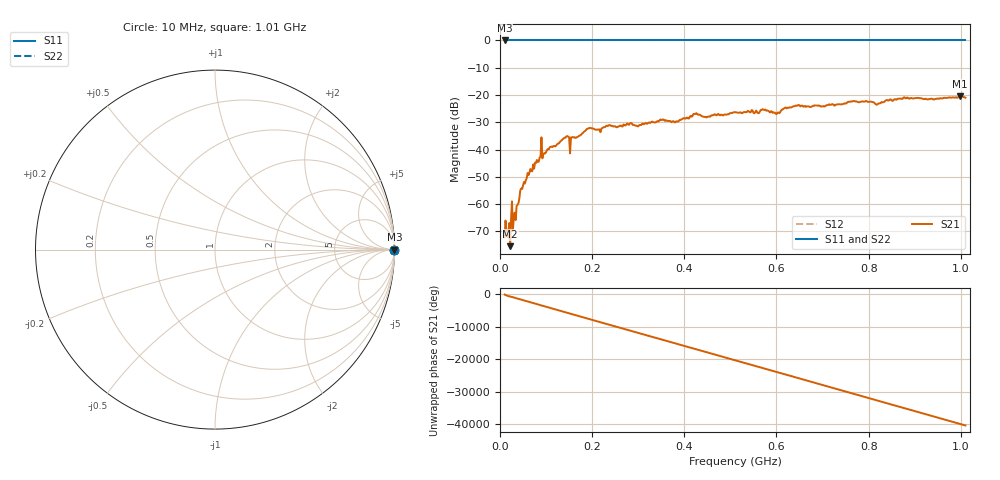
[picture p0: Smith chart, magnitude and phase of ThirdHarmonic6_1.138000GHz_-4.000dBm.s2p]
! 8/16/2025 11:08:42 AM
! C:\ANRITSUVNA\TEMP\TEMP.S2P
! CHANNEL.1
! TR.MEASUREMENT
! RAW.DATA
! RF.CORRECTION.OFF
! AVERAGING.OFF
! IF.BANDWIDTH: 5KHZ
! SWEEPTYPE:  FREQ.SWEEP(Linear)
! Reference Plane Port Info
! PORT:  PORT1  PORT2
! DISTANCE:  0  m  0  m
! TIME:  0  s  0  s
! PHASE.OFFSET:  0  deg.  0  deg.
! LOSS:  0  dB  0  dB
! REF.LOSS:  0  dB  0  dB
! REF.FREQ:  0  Hz  0  Hz
! Power Info
! POWER:  -20  dBm  -20  dBm
! EFF.POWER:  -20  dBm  -20  dBm
! SOURCE.ATTEN:  0  dB  0  dB
! TEST.ATTEN:  0  dB  0  dB
# GHZ S RI R 50.0
! FREQ.GHZ  S11RE  S11IM  S21RE  S21IM  S12RE  S12IM  S22RE  S22IM
!; PortSelection: Port_12
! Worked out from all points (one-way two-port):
!   501 points, 10 MHz to 1.01 GHz, reference 50 ohm
!   highest |S21| = -20.45 dB at 998 MHz (marker M1); lowest = -75.4 dB at 22 MHz (marker M2)
!   lowest |S11| = 0.0 dB at 10 MHz (marker M3)
!   |S11| at or under -10 dB: nowhere
!   |S22| runs from 0.0 to 0.0 dB; largest |S21 - S12| = 1.1
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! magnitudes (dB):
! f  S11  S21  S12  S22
! 10 MHz  0.0  -72.1  0.0  0.0
! 16 MHz  0.0  -69.6  0.0  0.0
! 18 MHz  0.0  -72.2  0.0  0.0
! 22 MHz  0.0  -75.4  0.0  0.0
! 26 MHz  0.0  -59.0  0.0  0.0
! 28 MHz  0.0  -69.1  0.0  0.0
! 32 MHz  0.0  -63.1  0.0  0.0
! 48 MHz  0.0  -54.4  0.0  0.0
! 86 MHz  0.0  -42.9  0.0  0.0
! 142 MHz  0.0  -35.6  0.0  0.0
! 156 MHz  0.0  -35.5  0.0  0.0
! 178 MHz  0.0  -34.1  0.0  0.0
! 194 MHz  0.0  -32.1  0.0  0.0
! 344 MHz  0.0  -29.7  0.0  0.0
! 510 MHz  0.0  -26.3  0.0  0.0
! 572 MHz  0.0  -25.4  0.0  0.0
! 602 MHz  0.0  -26.4  0.0  0.0
! 644 MHz  0.0  -24.0  0.0  0.0
! 678 MHz  0.0  -24.0  0.0  0.0
! 844 MHz  0.0  -22.0  0.0  0.0
! 998 MHz  0.0  -20.5  0.0  0.0
! 1.01 GHz  0.0  -21.0  0.0  0.0
